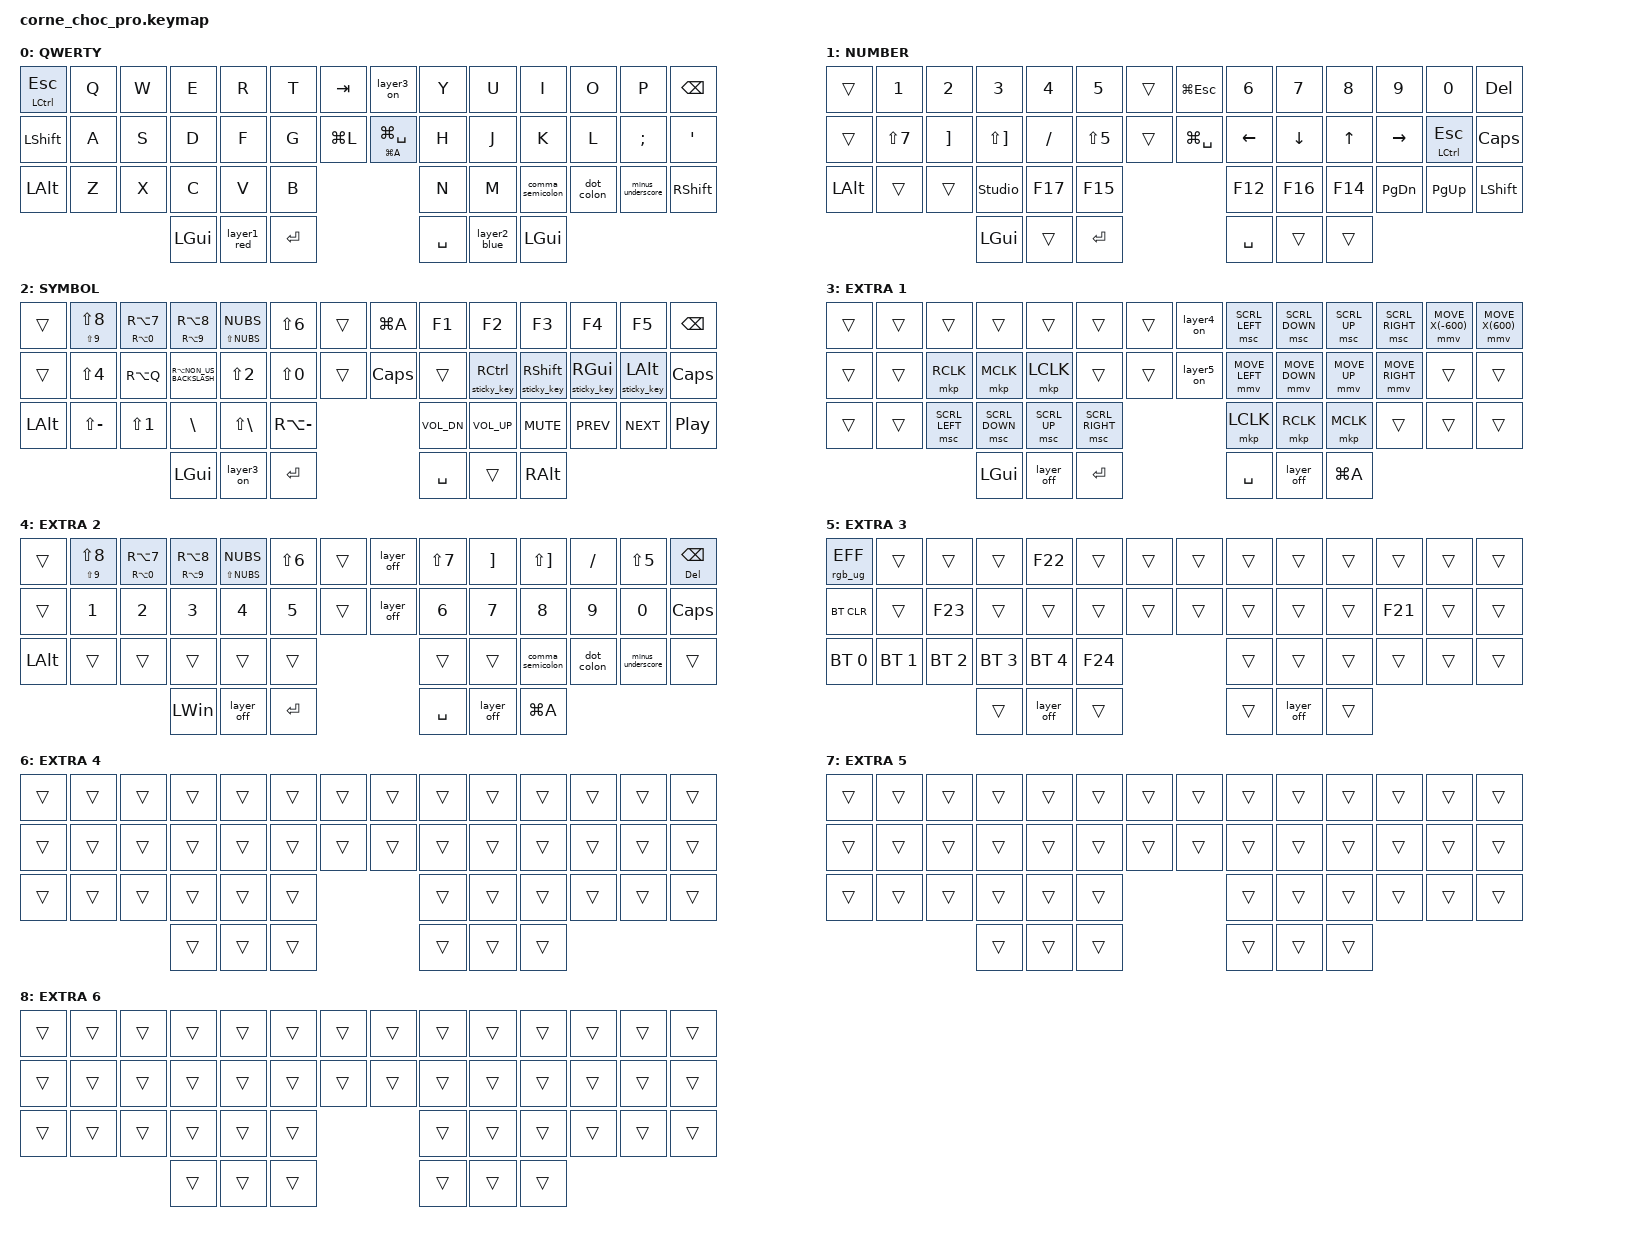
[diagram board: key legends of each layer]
/*
 * Copyright (c) 2020 The ZMK Contributors
 *
 * SPDX-License-Identifier: MIT
 */

#define ZMK_POINTING_DEFAULT_MOVE_VAL 1500  // Standard ist 600. Hier auf 1500 erhöht.

#include <behaviors.dtsi>
#include <dt-bindings/zmk/bt.h>
#include <dt-bindings/zmk/keys.h>
#include <dt-bindings/zmk/pointing.h>
#include <dt-bindings/zmk/rgb.h>

/ {
    chosen { zmk,physical-layout = &default_layout; };
};

/ {
    behaviors {
        /*
         * DEFINITION: Optimized Mouse Movement
         * Goal: High precision at start, high speed after hold
         */

        ESC_CTRL: ESC_CTRL {
            compatible = "zmk,behavior-tap-dance";
            label = "ESC_CTRL";
            #binding-cells = <0>;
            bindings = <&kp ESCAPE>, <&kp LCTRL>;
        };

        shift_press: shift_press {
            compatible = "zmk,behavior-hold-tap";
            label = "SHIFT_PRESS";
            bindings = <&kp>, <&kp>;

            #binding-cells = <2>;
            tapping-term-ms = <200>;
            flavor = "hold-preferred";
        };

        comma_semicolon: comma_semicolon {
            compatible = "zmk,behavior-mod-morph";
            label = "COMMA_SEMICOLON";
            bindings = <&kp COMMA>, <&kp LS(COMMA)>;

            #binding-cells = <0>;
            mods = <(MOD_LSFT)>;
        };

        dot_colon: dot_colon {
            compatible = "zmk,behavior-mod-morph";
            label = "DOT_COLON";
            bindings = <&kp DOT>, <&kp LS(DOT)>;

            #binding-cells = <0>;
            mods = <(MOD_LSFT)>;
        };

        minus_underscore: minus_underscore {
            compatible = "zmk,behavior-mod-morph";
            label = "MINUS_UNDERSCORE";
            bindings = <&kp SLASH>, <&kp LS(SLASH)>;

            #binding-cells = <0>;
            mods = <(MOD_LSFT)>;
        };

        tap_preferred_key: tap_preferred_key {
            compatible = "zmk,behavior-hold-tap";
            label = "TAP_PREFERRED_KEY";
            bindings = <&kp>, <&kp>;

            #binding-cells = <2>;
            tapping-term-ms = <200>;
            flavor = "tap-preferred";
        };

        hmr_right: hmr_right {
            compatible = "zmk,behavior-hold-tap";
            label = "HMR_RIGHT";
            bindings = <&kp>, <&kp>;

            #binding-cells = <2>;
            tapping-term-ms = <300>;
            hold-trigger-key-positions = <0 1 6 14 15 16 17 18 19 20 28 29 30 31 32 33 40 41 42 2 3 4 5>;
            flavor = "balanced";
            quick-tap-ms = <175>;
        };

        hmr_left: hmr_left {
            compatible = "zmk,behavior-hold-tap";
            label = "HMR_LEFT";
            bindings = <&kp>, <&kp>;

            #binding-cells = <2>;
            tapping-term-ms = <300>;
            hold-trigger-key-positions = <7 12 13 21 22 23 24 25 26 27 34 35 36 37 38 39 43 44 45 7 8 9 10 11 22 23 24 25>;
            flavor = "balanced";
            quick-tap-ms = <175>;
        };

        sticky_key: sticky_key {
            compatible = "zmk,behavior-sticky-key";
            label = "STICKY_KEY";
            bindings = <&kp>;
            #binding-cells = <1>;
            release-after-ms = <3000>;
            quick-release;
        };

        alt_tab_tap: alt_tab_tap {
            compatible = "zmk,behavior-hold-tap";
            label = "ALT_TAB_TAP";
            bindings = <&alt_tab_swap>, <&kp>;

            #binding-cells = <2>;
            flavor = "tap-preferred";
            tapping-term-ms = <200>;
        };
    };

    combos {
        compatible = "zmk,combos";

        umlaut_ue {
            bindings = <&kp LEFT_BRACKET>;
            key-positions = <12 11>;
        };

        umlaut_sz {
            bindings = <&kp MINUS>;
            key-positions = <16 17>;
        };
    };

    macros {
        /* * Swapper Macro for Niri on Arch:
         * Pressing the key holds LALT and taps TAB.
         * Keeping the key held keeps LALT active.
         * Releasing the key finally releases LALT.
         */

        alt_tab_swap: alt_tab_swap {
            compatible = "zmk,behavior-macro";
            #binding-cells = <0>;
            wait-ms = <10>;
            tap-ms = <10>;
            bindings =
                <&macro_press>,
                <&kp LALT>,
                <&macro_tap>,
                <&kp TAB>,
                <&macro_pause_for_release>,
                <&macro_release>,
                <&kp LALT>;
        };

        layer1_red: to_layer1_red {
            compatible = "zmk,behavior-macro";
            #binding-cells = <0>;
            bindings =
                <&macro_press>,
                <&mo 1>,
                <&macro_tap>,
                <&rgb_ug RGB_COLOR_HSB(0,100,50)>,
                <&macro_tap>,
                <&rgb_ug RGB_ON>,
                <&macro_pause_for_release>,
                <&mo 1>,
                <&macro_tap>,
                <&rgb_ug RGB_OFF>;

            label = "TO_LAYER1_RED";
        };

        layer2_blue: layer2_blue {
            compatible = "zmk,behavior-macro";
            #binding-cells = <0>;
            bindings =
                <&macro_press>,
                <&mo 2>,
                <&macro_tap>,
                <&rgb_ug RGB_COLOR_HSB(235,82,53)>,
                <&macro_tap>,
                <&rgb_ug RGB_ON>,
                <&macro_pause_for_release>,
                <&mo 2>,
                <&macro_tap>,
                <&rgb_ug RGB_OFF>;

            label = "LAYER2_BLUE";
        };

        layer3_on: layer3_on {
            compatible = "zmk,behavior-macro";
            #binding-cells = <0>;
            bindings =
                <&macro_tap>,
                <&rgb_ug RGB_ON>,
                <&macro_tap>,
                <&rgb_ug RGB_COLOR_HSB(125,86,25)>,
                <&macro_pause_for_release>,
                <&to 3>;

            label = "LAYER3_ON";
        };

        layer_off: layer3_off {
            compatible = "zmk,behavior-macro";
            #binding-cells = <0>;
            bindings = <&macro_tap>, <&rgb_ug RGB_OFF>, <&macro_tap>, <&to 0>;

            label = "LAYER3_OFF";
        };

        layer4_on: layer4_on {
            compatible = "zmk,behavior-macro";
            #binding-cells = <0>;
            bindings =
                <&macro_tap>,
                <&rgb_ug RGB_ON>,
                <&macro_tap>,
                <&rgb_ug RGB_COLOR_HSB(60,88,62)>,
                <&macro_pause_for_release>,
                <&to 4>;

            label = "LAYER4_ON";
        };

        layer5_on: layer5_on {
            compatible = "zmk,behavior-macro";
            #binding-cells = <0>;
            bindings =
                <&macro_tap>,
                <&rgb_ug RGB_ON>,
                <&macro_tap>,
                <&rgb_ug RGB_COLOR_HSB(307,82,47)>,
                <&macro_pause_for_release>,
                <&to 5>;

            label = "LAYER5_ON";
        };
    };

    keymap {
        compatible = "zmk,keymap";

        default_layer {
            display-name = "QWERTY";

            // --------------------------------------------------------------------------------
            // |  TAB |  Q  |  W  |  E  |  R  |  T  |  MUTE |  PP   |  Y  |  U   |  I  |  O  |  P  | BSPC |
            // | CTRL |  A  |  S  |  D  |  F  |  G  |  LALT |  RALT |  H  |  J   |  K  |  L  |  ;  |  '   |
            // | SHFT |  Z  |  X  |  C  |  V  |  B  |               |  N  |  M   |  ,  |  .  |  /  | ESC  |
            //                    | GUI | LWR | SPC |               | ENT | RSE  | ALT |

            bindings = <
&mt LCTRL ESCAPE  &kp Q  &kp W  &kp E     &kp R        &kp T      &kp TAB    &layer3_on           &kp Y      &kp U         &kp I             &kp O       &kp P              &kp BSPC
&kp LEFT_SHIFT    &kp A  &kp S  &kp D     &kp F        &kp G      &kp LG(L)  &mt LG(A) LG(SPACE)  &kp H      &kp J         &kp K             &kp L       &kp SEMI           &kp SQT
&kp LEFT_ALT      &kp Z  &kp X  &kp C     &kp V        &kp B                                      &kp N      &kp M         &comma_semicolon  &dot_colon  &minus_underscore  &kp RIGHT_SHIFT
                                &kp LGUI  &layer1_red  &kp ENTER                                  &kp SPACE  &layer2_blue  &kp LGUI
            >;
        };

        lower_layer {
            display-name = "NUMBER";

            // -----------------------------------------------------------------------------------------
            // |  TAB |  1  |  2  |  3  |  4  |  5    |  LCTRL | RCTRL |  6  |  7  |  8  |  9  |  0  | BSPC |
            // | CTRL | BT1 | BT2 | BT3 | BT4 | BT5   |  LALT  | RALT  | LFT | DWN |  UP | RGT |     |      |
            // | SHFT | BTCR| RGB | RST | BOOT| Unlock|        |       |     |     |     |     |     |      |
            //                    | GUI |     | SPC   |        | ENT   |     | ALT |

            bindings = <
&trans        &kp N1            &kp N2             &kp N3                 &kp N4     &kp N5            &trans  &kp LG(ESCAPE)  &kp N6     &kp N7    &kp N8   &kp N9         &kp N0         &kp DEL
&trans        &kp LS(NUMBER_7)  &kp RIGHT_BRACKET  &kp LS(RIGHT_BRACKET)  &kp SLASH  &kp LS(NUMBER_5)  &trans  &kp LG(SPACE)   &kp LEFT   &kp DOWN  &kp UP   &kp RIGHT      &mt LCTRL ESC  &kp CAPS
&kp LEFT_ALT  &trans            &trans             &studio_unlock         &kp F17    &kp F15                                   &kp F12    &kp F16   &kp F14  &kp PAGE_DOWN  &kp PAGE_UP    &kp LEFT_SHIFT
                                                   &kp LGUI               &trans     &kp ENTER                                 &kp SPACE  &trans    &trans
            >;
        };

        raise_layer {
            display-name = "SYMBOL";

            // -----------------------------------------------------------------------------------------
            // |  TAB |  !  |  @  |  #  |  $  |  %  | LCTRL | RCTRL |  ^  |  &  |  *  |  (  |  )  | BSPC |
            // | CTRL |     |     |     |     |     |  LALT | RALT  |  -  |  =  |  [  |  ]  |  \  |  `   |
            // | SHFT |     |     |     |     |     |               |  _  |  +  |  {  |  }  | "|" |  ~   |
            //                    | GUI |     | SPC |               | ENT |     | ALT |

            bindings = <
&trans        &mt LS(NUMBER_9) LS(NUMBER_8)  &mt RA(NUMBER_0) RA(NUMBER_7)  &mt RA(NUMBER_9) RA(NUMBER_8)  &mt LS(NUBS) NUBS  &kp LS(NUMBER_6)  &trans  &kp LG(A)  &kp F1        &kp F2             &kp F3                   &kp F4                 &kp F5                &kp BSPC
&trans        &kp LS(NUMBER_4)               &kp RA(Q)                      &kp RA(NON_US_BACKSLASH)       &kp LS(NUMBER_2)   &kp LS(NUMBER_0)  &trans  &kp CAPS   &trans        &sticky_key RCTRL  &sticky_key RIGHT_SHIFT  &sticky_key RIGHT_GUI  &sticky_key LEFT_ALT  &kp CAPS
&kp LEFT_ALT  &kp LS(MINUS)                  &kp LS(NUMBER_1)               &kp BACKSLASH                  &kp LS(BACKSLASH)  &kp RA(MINUS)                        &kp C_VOL_DN  &kp C_VOLUME_UP    &kp C_MUTE               &kp C_PREV             &kp C_NEXT            &kp C_PLAY_PAUSE
                                                                            &kp LGUI                       &layer3_on         &kp ENTER                            &kp SPACE     &trans             &kp RALT
            >;
        };

        extra_layer_1 {
            display-name = "EXTRA 1";
            bindings = <
&trans  &trans  &trans          &trans          &trans        &trans           &trans  &layer4_on  &msc SCRL_LEFT  &msc SCRL_DOWN  &msc SCRL_UP  &msc SCRL_RIGHT  &mmv MOVE_X(-600)  &mmv MOVE_X(600)
&trans  &trans  &mkp RCLK       &mkp MCLK       &mkp LCLK     &trans           &trans  &layer5_on  &mmv MOVE_LEFT  &mmv MOVE_DOWN  &mmv MOVE_UP  &mmv MOVE_RIGHT  &trans             &trans
&trans  &trans  &msc SCRL_LEFT  &msc SCRL_DOWN  &msc SCRL_UP  &msc SCRL_RIGHT                      &mkp LCLK       &mkp RCLK       &mkp MCLK     &trans           &trans             &trans
                                &kp LGUI        &layer_off    &kp ENTER                            &kp SPACE       &layer_off      &kp LG(A)
            >;
        };

        extra_layer_2 {
            display-name = "EXTRA 2";
            bindings = <
&trans    &mt LS(N9) LS(N8)  &mt RA(N0) RA(N7)  &mt RA(N9) RA(N8)  &mt LS(NUBS) NUBS  &kp LS(NUMBER_6)  &trans  &layer_off  &kp LS(N7)    &kp RIGHT_BRACKET  &kp LS(RIGHT_BRACKET)  &kp SLASH     &kp LS(N5)         &mt DELETE BACKSPACE
&trans    &kp NUMBER_1       &kp NUMBER_2       &kp NUMBER_3       &kp NUMBER_4       &kp NUMBER_5      &trans  &layer_off  &kp NUMBER_6  &kp NUMBER_7       &kp NUMBER_8           &kp NUMBER_9  &kp N0             &kp CAPS
&kp LALT  &trans             &trans             &trans             &trans             &trans                                &trans        &trans             &comma_semicolon       &dot_colon    &minus_underscore  &trans
                                                &kp LEFT_WIN       &layer_off         &kp ENTER                             &kp SPACE     &layer_off         &kp LG(A)
            >;
        };

        extra_layer_3 {
            display-name = "EXTRA 3";
            bindings = <
&rgb_ug RGB_EFF  &trans        &trans        &trans        &kp F22       &trans   &trans  &trans  &trans  &trans      &trans  &trans   &trans  &trans
&bt BT_CLR       &trans        &kp F23       &trans        &trans        &trans   &trans  &trans  &trans  &trans      &trans  &kp F21  &trans  &trans
&bt BT_SEL 0     &bt BT_SEL 1  &bt BT_SEL 2  &bt BT_SEL 3  &bt BT_SEL 4  &kp F24                  &trans  &trans      &trans  &trans   &trans  &trans
                                             &trans        &layer_off    &trans                   &trans  &layer_off  &trans
            >;
        };

        extra_layer_4 {
            display-name = "EXTRA 4";
            bindings = <
&trans  &trans  &trans  &trans  &trans  &trans  &trans  &trans  &trans  &trans  &trans  &trans  &trans  &trans
&trans  &trans  &trans  &trans  &trans  &trans  &trans  &trans  &trans  &trans  &trans  &trans  &trans  &trans
&trans  &trans  &trans  &trans  &trans  &trans                  &trans  &trans  &trans  &trans  &trans  &trans
                        &trans  &trans  &trans                  &trans  &trans  &trans
            >;
        };

        extra_layer_5 {
            display-name = "EXTRA 5";
            bindings = <
&trans  &trans  &trans  &trans  &trans  &trans  &trans  &trans  &trans  &trans  &trans  &trans  &trans  &trans
&trans  &trans  &trans  &trans  &trans  &trans  &trans  &trans  &trans  &trans  &trans  &trans  &trans  &trans
&trans  &trans  &trans  &trans  &trans  &trans                  &trans  &trans  &trans  &trans  &trans  &trans
                        &trans  &trans  &trans                  &trans  &trans  &trans
            >;
        };

        extra_layer_6 {
            display-name = "EXTRA 6";
            bindings = <
&trans  &trans  &trans  &trans  &trans  &trans  &trans  &trans  &trans  &trans  &trans  &trans  &trans  &trans
&trans  &trans  &trans  &trans  &trans  &trans  &trans  &trans  &trans  &trans  &trans  &trans  &trans  &trans
&trans  &trans  &trans  &trans  &trans  &trans                  &trans  &trans  &trans  &trans  &trans  &trans
                        &trans  &trans  &trans                  &trans  &trans  &trans
            >;
        };
    };
};
